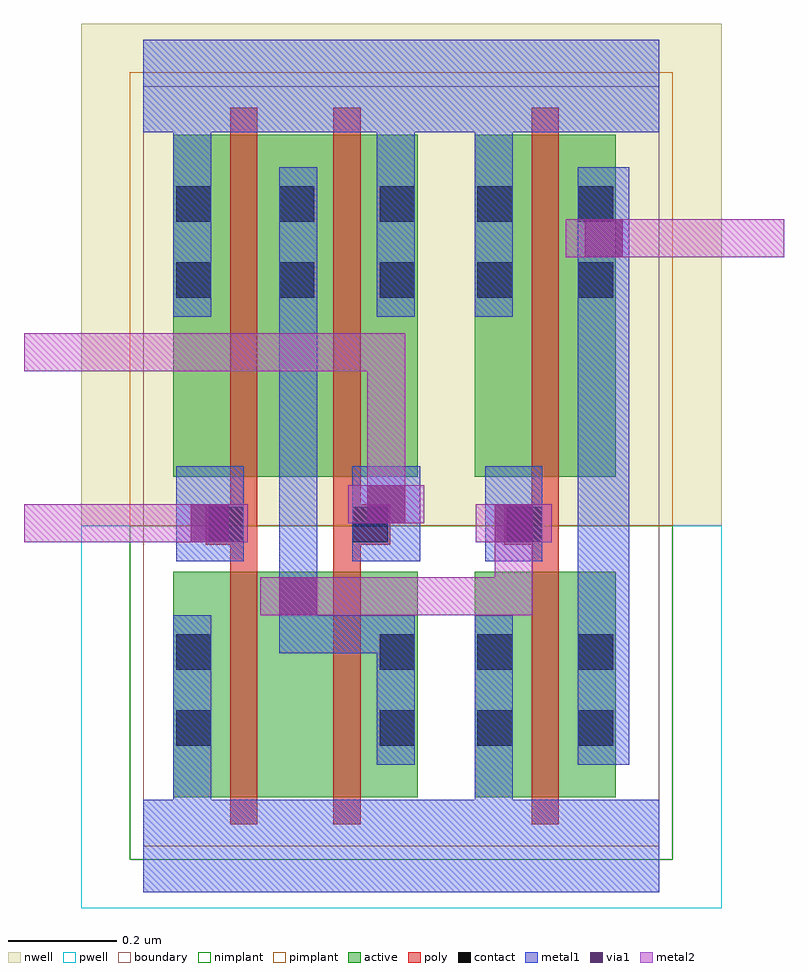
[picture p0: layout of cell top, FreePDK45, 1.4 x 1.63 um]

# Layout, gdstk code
import gdstk
lib = gdstk.Library(unit=1e-6, precision=1e-10)
def R(c, l, rs):  # rectangles x0, y0, x1, y1
    for r in rs: c.add(gdstk.rectangle(r[:2], r[2:], *l))
def P(c, l, *ps):  # polygons
    for p in ps: c.add(gdstk.Polygon(p, *l))
active = (1, 0)
pwell = (2, 0)
nwell = (3, 0)
nimplant = (4, 0)
pimplant = (5, 0)
poly = (9, 0)
contact = (10, 0)
metal1 = (11, 0)
via1 = (12, 0)
metal2 = (13, 0)
boundary = (235, 0)

nand2_x1 = lib.new_cell('NAND2_X1')
R(nand2_x1, active, [(0.055,0.09,0.505,0.505), (0.055,0.68,0.505,1.31)])
R(nand2_x1, pwell, [(-0.115,-0.115,0.685,0.59)])
R(nand2_x1, nwell, [(-0.115,0.59,0.685,1.515)])
R(nand2_x1, nimplant, [(-0.025,-0.025,0.595,0.59)])
R(nand2_x1, pimplant, [(-0.025,0.59,0.595,1.425)])
P(nand2_x1, poly, [(0.16,0.04),(0.16,0.555),(0.115,0.555),(0.115,0.63),(0.16,0.63),(0.16,1.36),(0.21,1.36),(0.21,0.04)],
  [(0.35,0.04),(0.35,1.36),(0.4,1.36),(0.4,0.63),(0.455,0.63),(0.455,0.555),(0.4,0.555),(0.4,0.04)])
R(nand2_x1, contact, [(0.06,0.185,0.125,0.25), (0.435,0.185,0.5,0.25), (0.06,0.325,0.125,0.39), (0.435,0.325,0.5,0.39), (0.12,0.56,0.185,0.625), (0.385,0.56,0.45,0.625), (0.06,1.01,0.125,1.075), (0.25,1.01,0.315,1.075), (0.435,1.01,0.5,1.075), (0.06,1.15,0.125,1.215), (0.25,1.15,0.315,1.215), (0.435,1.15,0.5,1.215)])
R(nand2_x1, metal1, [(0.06,0.525,0.185,0.7), (0.385,0.525,0.51,0.7)])
P(nand2_x1, metal1, [(0.43,0.15),(0.43,0.355),(0.25,0.355),(0.25,1.25),(0.32,1.25),(0.32,0.425),(0.5,0.425),(0.5,0.15)],
  [(0,-0.085),(0,0.085),(0.055,0.085),(0.055,0.425),(0.125,0.425),(0.125,0.085),(0.57,0.085),(0.57,-0.085)],
  [(0.055,0.975),(0.055,1.315),(0,1.315),(0,1.485),(0.57,1.485),(0.57,1.315),(0.5,1.315),(0.5,0.975),(0.43,0.975),(0.43,1.315),(0.125,1.315),(0.125,0.975)])
R(nand2_x1, boundary, [(0,0,0.57,1.4)])
nand2_x1.add(gdstk.Label('A1', (0.475,0.63), layer=11, texttype=0))
nand2_x1.add(gdstk.Label('A2', (0.095,0.63), layer=11, texttype=0))
nand2_x1.add(gdstk.Label('VDD', (0.285,1.485), layer=11, texttype=0))
nand2_x1.add(gdstk.Label('VSS', (0.285,-0.085), layer=11, texttype=0))
nand2_x1.add(gdstk.Label('ZN', (0.285,0.49), layer=11, texttype=0))
nand2_x1.add(gdstk.Label('& Vendor Nangate Inc', (0,0), layer=63, texttype=63))
nand2_x1.add(gdstk.Label('& Product Open Cell Library', (0,0), layer=63, texttype=63))
nand2_x1.add(gdstk.Label('& Version 2010_12', (0,0), layer=63, texttype=63))
nand2_x1.add(gdstk.Label('& Instance NAND2_X1', (0,0), layer=63, texttype=63))

inv_x1 = lib.new_cell('INV_X1')
R(inv_x1, active, [(0.04,0.09,0.3,0.505), (0.04,0.68,0.3,1.31)])
R(inv_x1, pwell, [(-0.115,-0.115,0.495,0.59)])
R(inv_x1, nwell, [(-0.115,0.59,0.495,1.515)])
R(inv_x1, nimplant, [(-0.025,-0.025,0.405,0.59)])
R(inv_x1, pimplant, [(-0.025,0.59,0.405,1.425)])
P(inv_x1, poly, [(0.145,0.04),(0.145,0.555),(0.095,0.555),(0.095,0.63),(0.145,0.63),(0.145,1.36),(0.195,1.36),(0.195,0.04)])
R(inv_x1, contact, [(0.045,0.185,0.11,0.25), (0.23,0.185,0.295,0.25), (0.045,0.325,0.11,0.39), (0.23,0.325,0.295,0.39), (0.1,0.56,0.165,0.625), (0.045,1.01,0.11,1.075), (0.23,1.01,0.295,1.075), (0.045,1.15,0.11,1.215), (0.23,1.15,0.295,1.215)])
R(inv_x1, metal1, [(0.23,0.15,0.325,1.25), (0.06,0.525,0.165,0.7)])
P(inv_x1, metal1, [(0,-0.085),(0,0.085),(0.04,0.085),(0.04,0.425),(0.11,0.425),(0.11,0.085),(0.38,0.085),(0.38,-0.085)],
  [(0.04,0.975),(0.04,1.315),(0,1.315),(0,1.485),(0.38,1.485),(0.38,1.315),(0.11,1.315),(0.11,0.975)])
R(inv_x1, boundary, [(0,0,0.38,1.4)])
inv_x1.add(gdstk.Label('A', (0.095,0.63), layer=11, texttype=0))
inv_x1.add(gdstk.Label('VDD', (0.19,1.485), layer=11, texttype=0))
inv_x1.add(gdstk.Label('VSS', (0.19,-0.085), layer=11, texttype=0))
inv_x1.add(gdstk.Label('ZN', (0.285,0.63), layer=11, texttype=0))
inv_x1.add(gdstk.Label('& Vendor Nangate Inc', (0,0), layer=63, texttype=63))
inv_x1.add(gdstk.Label('& Product Open Cell Library', (0,0), layer=63, texttype=63))
inv_x1.add(gdstk.Label('& Version 2010_12', (0,0), layer=63, texttype=63))
inv_x1.add(gdstk.Label('& Instance INV_X1', (0,0), layer=63, texttype=63))

top = lib.new_cell('top')
R(top, metal1, [(0.25,0.39,0.32,0.53), (0.0875,0.525,0.1575,0.665), (0.6475,0.525,0.7175,0.665), (0.4125,0.56,0.4825,0.7), (0.8125,1.05,0.8825,1.19)])
R(top, via1, [(0.25,0.425,0.32,0.495), (0.0875,0.56,0.1575,0.63), (0.6475,0.56,0.7175,0.63), (0.4125,0.595,0.4825,0.665), (0.8125,1.085,0.8825,1.155)])
R(top, metal2, [(0.215,0.425,0.355,0.495), (0.0525,0.56,0.1925,0.63), (0.6125,0.56,0.7525,0.63), (0.3775,0.595,0.5175,0.665), (0.7775,1.085,0.9175,1.155)])
top.add(gdstk.FlexPath([(-0.22,0.91),(0.4475,0.91),(0.4475,0.63)], 0.07, ends="flush", simple_path=True, layer=13, datatype=0))  # metal2
top.add(gdstk.FlexPath([(-0.22,0.595),(0.1225,0.595)], 0.07, ends="flush", simple_path=True, layer=13, datatype=0))  # metal2
top.add(gdstk.FlexPath([(0.285,0.46),(0.6825,0.46),(0.6825,0.595)], 0.07, ends="flush", simple_path=True, layer=13, datatype=0))  # metal2
top.add(gdstk.FlexPath([(0.8475,1.12),(1.18,1.12)], 0.07, ends="flush", simple_path=True, layer=13, datatype=0))  # metal2
top.add(gdstk.Reference(nand2_x1, (0,0)))
top.add(gdstk.Reference(inv_x1, (0.57,0)))

lib.write_gds('top.gds')
